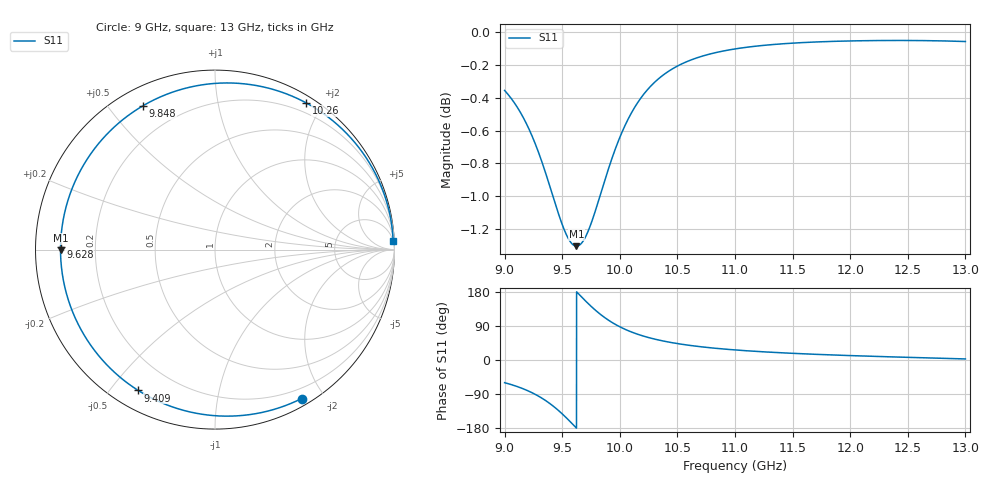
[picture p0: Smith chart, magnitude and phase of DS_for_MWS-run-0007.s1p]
! TOUCHSTONE file generated by CST DESIGN STUDIO
! Date and time: Tue Feb  4 17:25:15 2025
! Project name: C:\Work\MatlabApps\UnitCellOptimizationMatlab\CST\unitcell.cst
! Tree item: Tasks\Sweep1\SPara1\S-Parameters
! Header version: 2024
! Port assignment regex: !\s*Touchstone port\s*([0-9]+)\s*=\s*(CST MWS port|CST DES external port|CST DES block port)\s*(.+)\s* \(\"(.*)\"\)(\s*mode\s*([0-9]+))?.*
! Touchstone port assignment:
! Touchstone port 1 = CST DES external port 1 ("")
# GHz S MA R 50
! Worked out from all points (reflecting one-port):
!   4001 points, 9 GHz to 13 GHz, reference 50 ohm
!   lowest |S11| = -1.3 dB at 9.624 GHz (marker M1), VSWR 13.36, Z = 3.74 - j0.0938 ohm
!   phase of S11 starts at -60 deg and turns -297 deg over the sweep
!   S11 on the Smith chart (normalised r, x): 9 GHz: 0.08, -1.73; 9.409 GHz: 0.08, -0.59; 9.628 GHz: 0.07, +0.01; 9.848 GHz: 0.08, +0.61; 10.26 GHz: 0.08, +1.80; 13 GHz: 6, +40
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9  0.9599 -59.8
9.054  0.9548 -64.5
9.127  0.9465 -72.0
9.252  0.9273 -88.4
9.336  0.9104 -103.0
9.409  0.8938 -118.6
9.455  0.8832 -129.9
9.5  0.8739 -142.1
9.565  0.8639 -161.3
9.624  0.8607 -179.8
9.628  0.8607 179.0
9.685  0.8642 161.1
9.747  0.8737 142.7
9.797  0.8843 129.1
9.848  0.8962 116.6
9.919  0.9125 101.6
10  0.9288 87.6
10.062  0.9392 78.8
10.125  0.9481 71.2
10.263  0.9623 58.1
10.374  0.9701 50.3
10.5  0.9764 43.3
10.72  0.9833 34.4
11  0.9882 26.6
11.5  0.9922 17.6
12  0.9937 11.6
12.5  0.994 7.0
13  0.9933 2.8
